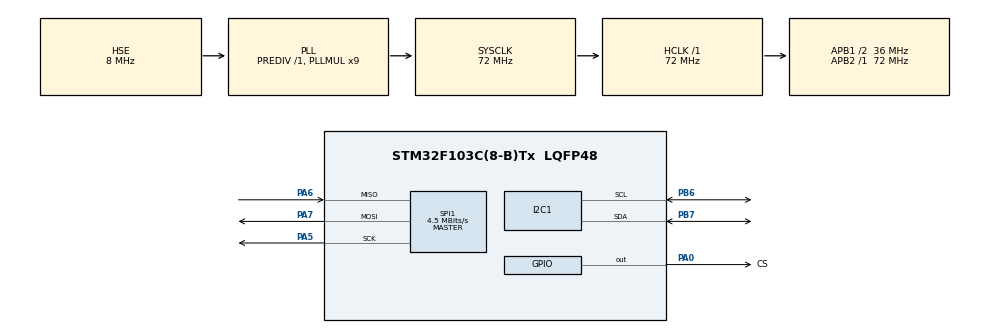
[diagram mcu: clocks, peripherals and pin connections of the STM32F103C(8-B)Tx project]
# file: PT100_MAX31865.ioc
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I2C1.I2C_Mode=I2C_Fast
Mcu.Family=STM32F1
Mcu.Name=STM32F103C(8-B)Tx
Mcu.Package=LQFP48
NVIC.PriorityGroup=NVIC_PRIORITYGROUP_4
PA0-WKUP.GPIO_Label=CS
PA0-WKUP.Signal=GPIO_Output
PA13.Mode=Trace_Asynchronous_SW
PA13.Signal=SYS_JTMS-SWDIO
PA14.Mode=Trace_Asynchronous_SW
PA14.Signal=SYS_JTCK-SWCLK
PA5.Mode=Full_Duplex_Master
PA5.Signal=SPI1_SCK
PA6.Mode=Full_Duplex_Master
PA6.Signal=SPI1_MISO
PA7.Mode=Full_Duplex_Master
PA7.Signal=SPI1_MOSI
PB3.Mode=Trace_Asynchronous_SW
PB3.Signal=SYS_JTDO-TRACESWO
PB6.Mode=I2C
PB6.Signal=I2C1_SCL
PB7.Mode=I2C
PB7.Signal=I2C1_SDA
PD0-OSC_IN.Mode=HSE-External-Oscillator
PD0-OSC_IN.Signal=RCC_OSC_IN
PD1-OSC_OUT.Mode=HSE-External-Oscillator
PD1-OSC_OUT.Signal=RCC_OSC_OUT
ProjectManager.HeapSize=0x200
ProjectManager.StackSize=0x400
ProjectManager.TargetToolchain=STM32CubeIDE
RCC.AHBFreq_Value=72000000
RCC.APB1CLKDivider=RCC_HCLK_DIV2
RCC.APB1Freq_Value=36000000
RCC.APB1TimFreq_Value=72000000
RCC.APB2Freq_Value=72000000
RCC.APB2TimFreq_Value=72000000
RCC.HCLKFreq_Value=72000000
RCC.PLLMUL=RCC_PLL_MUL9
RCC.PLLSourceVirtual=RCC_PLLSOURCE_HSE
RCC.SYSCLKFreq_VALUE=72000000
RCC.SYSCLKSource=RCC_SYSCLKSOURCE_PLLCLK
RCC.USBFreq_Value=48000000
RCC.USBPrescaler=RCC_USBCLKSOURCE_PLL_DIV1_5
SPI1.BaudRatePrescaler=SPI_BAUDRATEPRESCALER_16
SPI1.CLKPhase=SPI_PHASE_2EDGE
SPI1.CLKPolarity=SPI_POLARITY_LOW
SPI1.CalculateBaudRate=4.5 MBits/s
SPI1.Direction=SPI_DIRECTION_2LINES
SPI1.Mode=SPI_MODE_MASTER
SPI1.VirtualType=VM_MASTER
board=custom

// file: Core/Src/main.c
/* USER CODE BEGIN Header */
/**
 ******************************************************************************
 * @file           : main.c
 * @brief          : Main program body
 ******************************************************************************
 * @attention
 *
 * <h2><center>&copy; Copyright (c) 2021 STMicroelectronics.
 * All rights reserved.</center></h2>
 *
 * This software component is licensed by ST under BSD 3-Clause license,
 * the "License"; You may not use this file except in compliance with the
 * License. You may obtain a copy of the License at:
 *                        opensource.org/licenses/BSD-3-Clause
 *
 ******************************************************************************
 */
/* USER CODE END Header */
#include "main.h"

/* USER CODE BEGIN Includes */

#include "fonts.h"
#include "ssd1306.h"
#include "MAX31865_lib.h"
#include <stdio.h>
#include <stdbool.h>

extern bool MAX31865_Sensor_Error;
char temp[16];
//  yazı/karakter(6 bas.)+sayı(6bas.)+boşluk(1bas.)+birim(2bas.), Örn: Temp= 23 .76 °C
float PT100_Temperature = 0.0f;
unsigned long Time;

/* USER CODE END Includes */

I2C_HandleTypeDef hi2c1;

SPI_HandleTypeDef hspi1;

void SystemClock_Config(void);
static void MX_GPIO_Init(void);
static void MX_SPI1_Init(void);
static void MX_I2C1_Init(void);

int main(void)
{

  /* MCU Configuration--------------------------------------------------------*/

  /* Reset of all peripherals, Initializes the Flash interface and the Systick. */
  HAL_Init();

  /* Configure the system clock */
  SystemClock_Config();

  /* Initialize all configured peripherals */
  MX_GPIO_Init();
  MX_SPI1_Init();
  MX_I2C1_Init();
  /* USER CODE BEGIN 2 */

	MAX31865_Init(3);
	SSD1306_Init();
	SSD1306_GotoXY (45,10); //isimler için koordinatlar
	SSD1306_Puts("ECE", &Font_11x18, 1); //belirtilen koordinata bunu koy
	SSD1306_GotoXY(35,30);
	SSD1306_Puts("CINAR", &Font_11x18, 1);
	SSD1306_UpdateScreen(); // ekrana yazılması için girilen kodları çalıştıran sağlayan fonksiyon
	HAL_Delay(500);
	SSD1306_Scrolldiagright(0,0);
	HAL_Delay(2500);
	SSD1306_Stopscroll();
	SSD1306_Clear();
	HAL_Delay(500);

  /* USER CODE END 2 */

  /* Infinite loop */
	while (1) {

    /* USER CODE BEGIN 3 */

		if (HAL_GetTick() - Time >= 1000) {
			Time = HAL_GetTick();
			//PT100_Temperature = 25.78;
			PT100_Temperature = MAX31865_Get_Temperature();
			if (PT100_Temperature >= 0) {
				PT100_Temperature = PT100_Temperature + 0.05;
				sprintf(temp, "Temp= %d.%d °C", (uint16_t) (PT100_Temperature),((uint16_t) (PT100_Temperature * 100) - ((uint16_t) PT100_Temperature) * 100) / 10);//printf("Temper.=%d.%d C  \r\n", (uint16_t) (PT100_Temperature), ((uint16_t) (PT100_Temperature * 10) - ((uint16_t) PT100_Temperature) * 10));
			} else {
				//PT100_Temperature = MAX31865_Get_Temperature() - 0.05;
				PT100_Temperature = -PT100_Temperature + 0.05;
				sprintf(temp, "Тemp=-%d.%d °C", (uint16_t) (PT100_Temperature),((uint16_t) (PT100_Temperature * 100) - ((uint16_t) PT100_Temperature) * 100) / 10);
				//printf("Temper.=-%d.%d C  \r\n", (uint16_t) (PT100_Temperature), ((uint16_t) (PT100_Temperature * 10) - ((uint16_t) PT100_Temperature) * 10));
			}

			SSD1306_GotoXY(0,20);
  			SSD1306_Puts(temp, &Font_11x18, 1);
  			SSD1306_UpdateScreen();
  			HAL_Delay(500);

		}
	}
  /* USER CODE END 3 */
}

void SystemClock_Config(void)
{
  RCC_OscInitTypeDef RCC_OscInitStruct = {0};
  RCC_ClkInitTypeDef RCC_ClkInitStruct = {0};

  /** Initializes the RCC Oscillators according to the specified parameters
  * in the RCC_OscInitTypeDef structure.
  */
  RCC_OscInitStruct.OscillatorType = RCC_OSCILLATORTYPE_HSE;
  RCC_OscInitStruct.HSEState = RCC_HSE_ON;
  RCC_OscInitStruct.HSEPredivValue = RCC_HSE_PREDIV_DIV1;
  RCC_OscInitStruct.HSIState = RCC_HSI_ON;
  RCC_OscInitStruct.PLL.PLLState = RCC_PLL_ON;
  RCC_OscInitStruct.PLL.PLLSource = RCC_PLLSOURCE_HSE;
  RCC_OscInitStruct.PLL.PLLMUL = RCC_PLL_MUL9;
  if (HAL_RCC_OscConfig(&RCC_OscInitStruct) != HAL_OK)
  {
    Error_Handler();
  }
  /** Initializes the CPU, AHB and APB buses clocks
  */
  RCC_ClkInitStruct.ClockType = RCC_CLOCKTYPE_HCLK|RCC_CLOCKTYPE_SYSCLK
                              |RCC_CLOCKTYPE_PCLK1|RCC_CLOCKTYPE_PCLK2;
  RCC_ClkInitStruct.SYSCLKSource = RCC_SYSCLKSOURCE_PLLCLK;
  RCC_ClkInitStruct.AHBCLKDivider = RCC_SYSCLK_DIV1;
  RCC_ClkInitStruct.APB1CLKDivider = RCC_HCLK_DIV2;
  RCC_ClkInitStruct.APB2CLKDivider = RCC_HCLK_DIV1;

  if (HAL_RCC_ClockConfig(&RCC_ClkInitStruct, FLASH_LATENCY_2) != HAL_OK)
  {
    Error_Handler();
  }
}

static void MX_I2C1_Init(void)
{

  hi2c1.Instance = I2C1;
  hi2c1.Init.ClockSpeed = 400000;
  hi2c1.Init.DutyCycle = I2C_DUTYCYCLE_2;
  hi2c1.Init.OwnAddress1 = 0;
  hi2c1.Init.AddressingMode = I2C_ADDRESSINGMODE_7BIT;
  hi2c1.Init.DualAddressMode = I2C_DUALADDRESS_DISABLE;
  hi2c1.Init.OwnAddress2 = 0;
  hi2c1.Init.GeneralCallMode = I2C_GENERALCALL_DISABLE;
  hi2c1.Init.NoStretchMode = I2C_NOSTRETCH_DISABLE;
  if (HAL_I2C_Init(&hi2c1) != HAL_OK)
  {
    Error_Handler();
  }

}

static void MX_SPI1_Init(void)
{

  /* SPI1 parameter configuration*/
  hspi1.Instance = SPI1;
  hspi1.Init.Mode = SPI_MODE_MASTER;
  hspi1.Init.Direction = SPI_DIRECTION_2LINES;
  hspi1.Init.DataSize = SPI_DATASIZE_8BIT;
  hspi1.Init.CLKPolarity = SPI_POLARITY_LOW;
  hspi1.Init.CLKPhase = SPI_PHASE_2EDGE;
  hspi1.Init.NSS = SPI_NSS_SOFT;
  hspi1.Init.BaudRatePrescaler = SPI_BAUDRATEPRESCALER_16;
  hspi1.Init.FirstBit = SPI_FIRSTBIT_MSB;
  hspi1.Init.TIMode = SPI_TIMODE_DISABLE;
  hspi1.Init.CRCCalculation = SPI_CRCCALCULATION_DISABLE;
  hspi1.Init.CRCPolynomial = 10;
  if (HAL_SPI_Init(&hspi1) != HAL_OK)
  {
    Error_Handler();
  }

}

static void MX_GPIO_Init(void)
{
  GPIO_InitTypeDef GPIO_InitStruct = {0};

  /* GPIO Ports Clock Enable */
  __HAL_RCC_GPIOD_CLK_ENABLE();
  __HAL_RCC_GPIOA_CLK_ENABLE();
  __HAL_RCC_GPIOB_CLK_ENABLE();

  /*Configure GPIO pin Output Level */
  HAL_GPIO_WritePin(CS_GPIO_Port, CS_Pin, GPIO_PIN_RESET);

  /*Configure GPIO pin : CS_Pin */
  GPIO_InitStruct.Pin = CS_Pin;
  GPIO_InitStruct.Mode = GPIO_MODE_OUTPUT_PP;
  GPIO_InitStruct.Pull = GPIO_NOPULL;
  GPIO_InitStruct.Speed = GPIO_SPEED_FREQ_LOW;
  HAL_GPIO_Init(CS_GPIO_Port, &GPIO_InitStruct);

}

void Error_Handler(void)
{
	__disable_irq();
	while (1) {
	}
}

/************************ (C) COPYRIGHT STMicroelectronics *****END OF FILE****/
